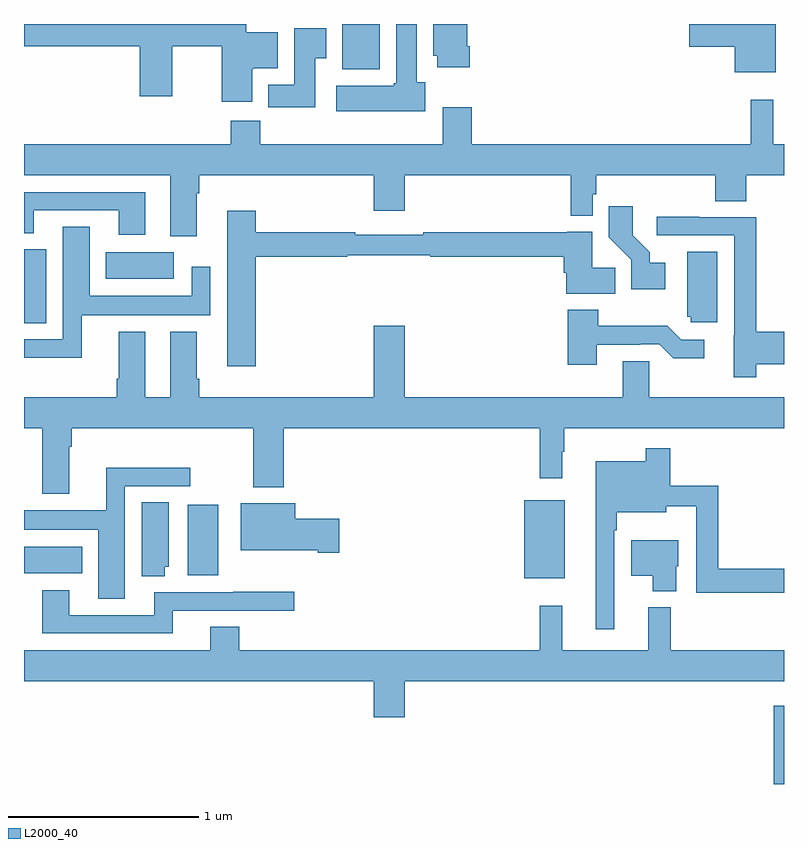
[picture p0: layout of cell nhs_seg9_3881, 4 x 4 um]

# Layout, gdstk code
import gdstk
lib = gdstk.Library(unit=1e-6, precision=1e-09)
def R(c, l, rs):  # rectangles x0, y0, x1, y1
    for r in rs: c.add(gdstk.rectangle(r[:2], r[2:], *l))
def P(c, l, *ps):  # polygons
    for p in ps: c.add(gdstk.Polygon(p, *l))
L2000_40 = (2000, 40)

nhs_seg9_3881 = lib.new_cell('nhs_seg9_3881')
R(nhs_seg9_3881, L2000_40, [(334.945,1242.5,335,1242.913), (333.632,1243.583,333.847,1243.993), (331.862,1243.598,332.023,1243.969), (331,1243.61,331.306,1243.75), (331,1244.926,331.117,1245.314), (331.43,1245.158,331.789,1245.298), (332.675,1246.262,332.872,1246.5)])
P(nhs_seg9_3881, L2000_40, [(333.347,1246.384),(333.334,1246.384),(333.334,1246.5),(333.155,1246.5),(333.155,1246.332),(333.176,1246.332),(333.176,1246.272),(333.347,1246.272)],
  [(334.957,1246.5),(334.5,1246.5),(334.5,1246.379),(334.742,1246.379),(334.742,1246.247),(334.957,1246.247)],
  [(333.112,1246.194),(333.067,1246.194),(333.067,1246.5),(332.96,1246.5),(332.96,1246.188),(332.947,1246.188),(332.947,1246.174),(332.643,1246.174),(332.643,1246.04),(333.112,1246.04)],
  [(332.2,1246.262),(332.206,1246.262),(332.206,1246.268),(332.335,1246.268),(332.335,1246.456),(332.17,1246.456),(332.17,1246.5),(331,1246.5),(331,1246.384),(331.61,1246.384),(331.61,1246.119),(331.78,1246.119),(331.78,1246.384),(332.042,1246.384),(332.042,1246.092),(332.2,1246.092)],
  [(332.533,1246.321),(332.59,1246.321),(332.59,1246.477),(332.423,1246.477),(332.423,1246.18),(332.285,1246.18),(332.285,1246.062),(332.533,1246.062)],
  [(331.909,1245.608),(331.922,1245.608),(331.922,1245.704),(332.84,1245.704),(332.84,1245.516),(333.004,1245.516),(333.004,1245.704),(333.877,1245.704),(333.877,1245.491),(333.993,1245.491),(333.993,1245.603),(334.013,1245.603),(334.013,1245.704),(334.637,1245.704),(334.637,1245.568),(334.802,1245.568),(334.802,1245.704),(335,1245.704),(335,1245.868),(334.943,1245.868),(334.943,1246.102),(334.825,1246.102),(334.825,1245.868),(333.356,1245.868),(333.356,1246.063),(333.203,1246.063),(333.203,1245.868),(332.243,1245.868),(332.243,1245.992),(332.087,1245.992),(332.087,1245.868),(331,1245.868),(331,1245.704),(331.769,1245.704),(331.769,1245.384),(331.909,1245.384)],
  [(331.639,1245.615),(331,1245.615),(331,1245.399),(331.051,1245.399),(331.051,1245.519),(331.499,1245.519),(331.499,1245.39),(331.639,1245.39)],
  [(334.375,1245.244),(334.294,1245.244),(334.294,1245.299),(334.204,1245.389),(334.204,1245.541),(334.078,1245.541),(334.078,1245.378),(334.197,1245.259),(334.197,1245.104),(334.375,1245.104)],
  [(332.219,1245.274),(332.702,1245.274),(332.702,1245.282),(333.139,1245.282),(333.139,1245.274),(333.842,1245.274),(333.842,1245.191),(333.854,1245.191),(333.854,1245.08),(334.112,1245.08),(334.112,1245.218),(333.991,1245.218),(333.991,1245.406),(333.858,1245.406),(333.858,1245.403),(333.1,1245.403),(333.1,1245.39),(332.744,1245.39),(332.744,1245.403),(332.219,1245.403),(332.219,1245.517),(332.069,1245.517),(332.069,1244.7),(332.219,1244.7)],
  [(334.853,1244.708),(335,1244.708),(335,1244.879),(334.853,1244.879),(334.853,1245.483),(334.553,1245.483),(334.553,1245.486),(334.329,1245.486),(334.329,1245.387),(334.737,1245.387),(334.737,1244.862),(334.736,1244.862),(334.736,1244.64),(334.853,1244.64)],
  [(331.304,1244.966),(331.98,1244.966),(331.98,1245.223),(331.884,1245.223),(331.884,1245.07),(331.345,1245.07),(331.345,1245.434),(331.205,1245.434),(331.205,1244.841),(331,1244.841),(331,1244.744),(331.304,1244.744)],
  [(334.648,1245.302),(334.49,1245.302),(334.49,1244.958),(334.509,1244.958),(334.509,1244.931),(334.648,1244.931)],
  [(334.015,1244.811),(334.244,1244.811),(334.244,1244.814),(334.344,1244.814),(334.417,1244.741),(334.579,1244.741),(334.579,1244.838),(334.458,1244.838),(334.385,1244.911),(334.023,1244.911),(334.023,1244.995),(333.863,1244.995),(333.863,1244.706),(334.015,1244.706)],
  [(331.922,1244.632),(331.909,1244.632),(331.909,1244.881),(331.769,1244.881),(331.769,1244.536),(331.639,1244.536),(331.639,1244.881),(331.499,1244.881),(331.499,1244.632),(331.487,1244.632),(331.487,1244.536),(331,1244.536),(331,1244.372),(331.097,1244.372),(331.097,1244.027),(331.237,1244.027),(331.237,1244.276),(331.25,1244.276),(331.25,1244.372),(332.206,1244.372),(332.206,1244.063),(332.366,1244.063),(332.366,1244.372),(333.715,1244.372),(333.715,1244.109),(333.832,1244.109),(333.832,1244.249),(333.844,1244.249),(333.844,1244.372),(335,1244.372),(335,1244.536),(334.29,1244.536),(334.29,1244.726),(334.151,1244.726),(334.151,1244.536),(333.004,1244.536),(333.004,1244.911),(332.84,1244.911),(332.84,1244.536),(331.922,1244.536)],
  [(334.107,1243.835),(334.12,1243.835),(334.12,1243.931),(334.381,1243.931),(334.381,1243.961),(334.539,1243.961),(334.539,1243.506),(335,1243.506),(335,1243.634),(334.655,1243.634),(334.655,1244.071),(334.4,1244.071),(334.4,1244.266),(334.272,1244.266),(334.272,1244.2),(334.01,1244.2),(334.01,1243.314),(334.107,1243.314)],
  [(331.531,1244.067),(331.876,1244.067),(331.876,1244.165),(331.433,1244.165),(331.433,1243.942),(331,1243.942),(331,1243.838),(331.391,1243.838),(331.391,1243.474),(331.531,1243.474)],
  [(331.741,1243.644),(331.762,1243.644),(331.762,1243.982),(331.619,1243.982),(331.619,1243.594),(331.741,1243.594)],
  [(332.659,1243.896),(332.428,1243.896),(332.428,1243.978),(332.141,1243.978),(332.141,1243.73),(332.546,1243.73),(332.546,1243.718),(332.659,1243.718)],
  [(334.432,1243.647),(334.444,1243.647),(334.444,1243.783),(334.196,1243.783),(334.196,1243.595),(334.31,1243.595),(334.31,1243.514),(334.432,1243.514)],
  [(331.784,1243.413),(332.422,1243.413),(332.422,1243.512),(332.101,1243.512),(332.101,1243.509),(331.685,1243.509),(331.685,1243.389),(331.237,1243.389),(331.237,1243.519),(331.097,1243.519),(331.097,1243.293),(331.784,1243.293)],
  [(333.004,1243.04),(335,1243.04),(335,1243.204),(334.403,1243.204),(334.403,1243.429),(334.286,1243.429),(334.286,1243.204),(333.833,1243.204),(333.833,1243.438),(333.715,1243.438),(333.715,1243.204),(332.132,1243.204),(332.132,1243.328),(331.979,1243.328),(331.979,1243.204),(331,1243.204),(331,1243.04),(332.84,1243.04),(332.84,1242.852),(333.004,1242.852)])

lib.write_gds('nhs_seg9_3881.gds')
